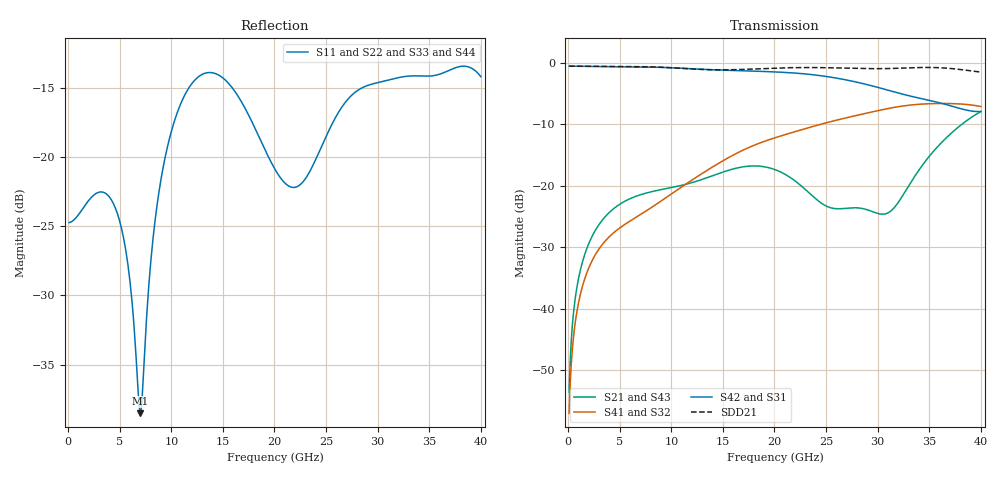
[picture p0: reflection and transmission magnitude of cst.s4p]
! E_s8_L1L8_p1000_oval_g4: pair L1→L8, pitch 1 mm, one oval antipad, 4 GND vias
! stackup: 8-layer 1.6 mm FR-4 (generic)
! ports: 1 P near, 2 N near, 3 P far, 4 N far
! CST Studio Suite 2025.5 Release from 2025-05-30, time domain (FIT, hexahedral, PBA), 173376 mesh cells, 44 s
! mesh: {'lpw': 20, 'lpb': 20, 'minstep': 0.0, 'ratio': 20}; ports: port 1 (face); port 2 (face); port 3 (face); port 4 (face)
! interpolated from CST's 1001 samples to the case grid
# Hz S RI R 50
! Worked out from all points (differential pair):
!   400 points, 100 MHz to 40 GHz, reference 50 ohm
!   strongest paths, dB at 100 MHz, 10.1 GHz, 20.1 GHz, 30.1 GHz, 40 GHz:
!     S42: -0.5, -0.8, -1.5, -4.0, -7.9
!     S31: -0.5, -0.8, -1.5, -4.0, -7.9
!     S41: -57.0, -21.2, -12.1, -7.7, -7.1
!     S32: -57.0, -21.2, -12.1, -7.7, -7.1
!     S21: -53.5, -20.2, -17.4, -24.5, -7.9
!     S43: -53.5, -20.2, -17.4, -24.5, -7.9
!   taken as a pair (ports 2,1 in; 4,3 out), SDD21 dB: -0.5, -0.8, -0.8, -0.9, -1.5
!   lowest |S11| = -38.5 dB at 7 GHz (marker M1), VSWR 1.02, Z = 50.9 + j0.833 ohm
!   |S11| at or under -10 dB: start of sweep to end of sweep
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1e8  -0.0577 0.00473  0.00123 0.00172  0.9411 -0.0356  0.000822 -0.00116
     0.00123 0.00172  -0.0577 0.00473  0.000822 -0.00116  0.9411 -0.0356
     0.9411 -0.0356  0.000822 -0.00116  -0.0577 0.00473  0.00123 0.00172
     0.000822 -0.00116  0.9411 -0.0356  0.00123 0.00172  -0.0577 0.00473
7e9  0.00858 0.00819  0.0382 -0.0757  -0.8056 -0.4591  -0.0239 0.0533
     0.0382 -0.0757  0.00858 0.00819  -0.0239 0.0533  -0.8056 -0.4591
     -0.8056 -0.4591  -0.0239 0.0533  0.00858 0.00818  0.0382 -0.0757
     -0.0239 0.0533  -0.8056 -0.4591  0.0382 -0.0757  0.00858 0.00818
1.2e10  0.1729 0.0633  -0.1001 -0.0363  -0.1789 0.8788  0.1071 0.0318
        -0.1001 -0.0363  0.1729 0.0633  0.1071 0.0318  -0.1789 0.8788
        -0.1789 0.8788  0.1071 0.0318  0.1729 0.0633  -0.1001 -0.0363
        0.1071 0.0318  -0.1789 0.8788  -0.1001 -0.0363  0.1729 0.0633
1.66e10  0.0558 -0.1529  -0.0301 0.1381  0.8646 0.0444  0.0117 -0.1889
         -0.0301 0.1381  0.0558 -0.1529  0.0117 -0.1889  0.8646 0.0444
         0.8646 0.0444  0.0117 -0.1889  0.0558 -0.1529  -0.0301 0.1381
         0.0117 -0.1889  0.8646 0.0444  -0.0301 0.1381  0.0558 -0.1529
2.43e10  -0.0543 0.0883  0.0378 -0.0648  -0.7717 -0.177  0.00247 0.3144
         0.0378 -0.0648  -0.0543 0.0883  0.00247 0.3144  -0.7717 -0.177
         -0.7717 -0.177  0.00247 0.3144  -0.0543 0.0883  0.0377 -0.0648
         0.00247 0.3144  -0.7717 -0.177  0.0377 -0.0648  -0.0543 0.0883
3.23e10  0.1825 -0.0664  0.0495 0.0633  0.5321 0.1779  -0.1525 -0.4181
         0.0495 0.0633  0.1825 -0.0664  -0.1525 -0.4181  0.5321 0.1779
         0.5321 0.1779  -0.1525 -0.4181  0.1826 -0.0664  0.0495 0.0632
         -0.1525 -0.4181  0.5321 0.1779  0.0495 0.0632  0.1826 -0.0664
4e10  -0.1374 -0.1381  -0.3848 0.1173  -0.2535 -0.3135  0.3279 0.2964
      -0.3848 0.1173  -0.1374 -0.1381  0.3279 0.2964  -0.2535 -0.3135
      -0.2535 -0.3135  0.3279 0.2964  -0.1374 -0.1381  -0.3849 0.1174
      0.3279 0.2964  -0.2535 -0.3135  -0.3849 0.1174  -0.1374 -0.1381
